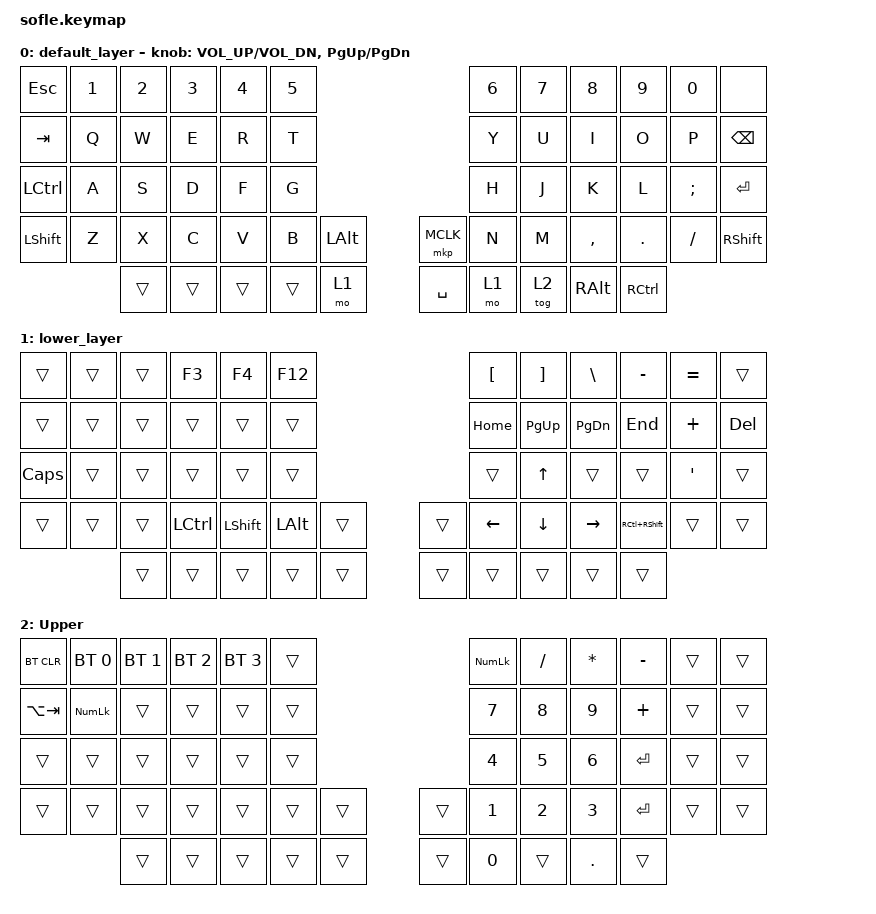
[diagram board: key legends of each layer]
/*
 * Copyright (c) 2020 The ZMK Contributors
 *
 * SPDX-License-Identifier: MIT
 */

#include <behaviors.dtsi>
#include <dt-bindings/zmk/bt.h>
#include <dt-bindings/zmk/keys.h>
#include <dt-bindings/zmk/mouse.h>

/ {
    keymap {
        compatible = "zmk,keymap";

        default_layer {
            // ------------------------------------------------------------------------------------------------------------
            // |  ESC  |  1  |  2  |  3   |  4   |  5   |                   |  6   |  7    |  8    |  9   |   0   |       |
            // |  TOG1 |  Q  |  W  |  E   |  R   |  T   |                   |  Y   |  U    |  I    |  O   |   P   | BKSPC |
            // |  CTRL |  A  |  S  |  D   |  F   |  G   |                   |  H   |  J    |  K    |  L   |   ;   | ENTER |
            // | SHIFT |  Z  |  X  |  C   |  V   |  B   |  MUTE  |  |       |  N   |  M    |  ,    |  .   |   /   | SHIFT |
            //               | GUI | ALT  | CTRL | LOWER|  ENTER |  | SPACE | RAISE| RAIS2 | ALT   | CTRL |

            bindings = <
&kp ESC    &kp N1  &kp N2  &kp N3  &kp N4  &kp N5                             &kp N6  &kp N7  &kp N8         &kp N9     &kp N0    &none
&kp TAB    &kp Q   &kp W   &kp E   &kp R   &kp T                              &kp Y   &kp U   &kp I          &kp O      &kp P     &kp BSPC
&kp LCTRL  &kp A   &kp S   &kp D   &kp F   &kp G                              &kp H   &kp J   &kp K          &kp L      &kp SEMI  &kp RET
&kp LSHFT  &kp Z   &kp X   &kp C   &kp V   &kp B   &kp LEFT_ALT    &mkp MCLK  &kp N   &kp M   &kp COMMA      &kp DOT    &kp FSLH  &kp RSHFT
                   &trans  &trans  &trans  &trans  &mo 1           &kp SPACE  &mo 1   &tog 2  &kp RIGHT_ALT  &kp RCTRL
            >;

            sensor-bindings =
                <&inc_dec_kp C_VOL_UP C_VOL_DN>,
                <&inc_dec_kp PAGE_UP PAGE_DOWN>;
        };

        lower_layer {
            // TODO: Some binds are waiting for shifted keycode support.
            // ------------------------------------------------------------------------------------------------------------
            // | SPACE | BKSP| DEL |   C  |   A  |   D  |                   |  F1  |  F2   |  F3   |  F4  |  F5   |       |
            // | TOG1  |  +  |   0 |   7  |   8  |   9  |                   |  F6  |  F7   |  F8   |  -   |   =   |   `   |
            // | CTRL  |  S  |   . |   4  |   5  |   6  |                   |  F9  |  F10  |  F11  | F12  |       |   |   |
            // | SHIFT |  X  |  N  |   1  |   2  |   3  |        |  |       |  [   |  ]    |  ;    |  :   |   \   |   '   |
            //               |     |      |      |      |        |  |       |      |       |       |      |

            bindings = <
&trans    &trans  &trans  &kp F3     &kp F4     &kp F12                     &kp LBKT  &kp RBKT   &kp BSLH   &kp MINUS       &kp EQUAL  &trans
&trans    &trans  &trans  &trans     &trans     &trans                      &kp HOME  &kp PG_UP  &kp PG_DN  &kp END         &kp PLUS   &kp DEL
&kp CAPS  &trans  &trans  &trans     &trans     &trans                      &trans    &kp UP     &trans     &trans          &kp SQT    &trans
&trans    &trans  &trans  &kp LCTRL  &kp LSHFT  &kp LALT  &trans    &trans  &kp LEFT  &kp DOWN   &kp RIGHT  &kp RC(RSHIFT)  &trans     &trans
                  &trans  &trans     &trans     &trans    &trans    &trans  &trans    &trans     &trans     &trans
            >;
        };

        Upper {
            bindings = <
&bt BT_CLR   &bt BT_SEL 0  &bt BT_SEL 1  &bt BT_SEL 2  &bt BT_SEL 3  &trans                    &kp KP_NUMLOCK  &kp FSLH  &kp STAR  &kp MINUS  &trans  &trans
&kp LA(TAB)  &kp KP_NUM    &trans        &trans        &trans        &trans                    &kp N7          &kp N8    &kp N9    &kp PLUS   &trans  &trans
&trans       &trans        &trans        &trans        &trans        &trans                    &kp N4          &kp N5    &kp N6    &kp RET    &trans  &trans
&trans       &trans        &trans        &trans        &trans        &trans  &trans    &trans  &kp N1          &kp N2    &kp N3    &kp RET    &trans  &trans
                           &trans        &trans        &trans        &trans  &trans    &trans  &kp N0          &trans    &kp DOT   &trans
            >;
        };
    };
};
